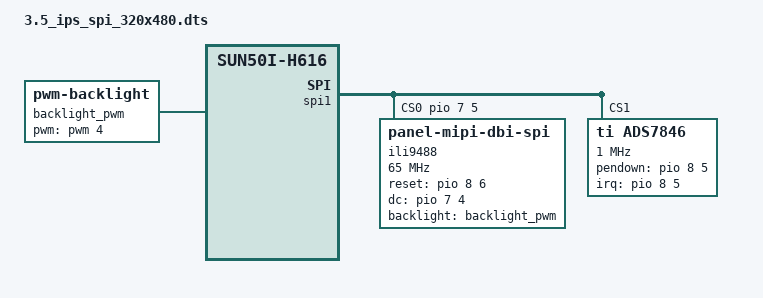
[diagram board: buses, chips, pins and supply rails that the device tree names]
/dts-v1/;
/plugin/;
/ {
    compatible = "allwinner,sun50i-h616";
    fragment@0 {
        target-path = "/";
        __overlay__ {
            /*backlight_gpio: backlight_gpio {
                compatible = "gpio-backlight";
		gpios = <&pio 8 14 0>; // PI14
                default-on;
	    };*/
            backlight_pwm: backlight_pwm {
                compatible = "pwm-backlight";
                brightness-levels = <0 25 50 75 100 125 150 175 200 225 255>;
		default-brightness-level = <6>;
		pwms = <&pwm 4 25000 0>; // PI14
                pwm-names = "backlight";
		status = "okay";
            };
        };
    };
    fragment@1 {
        target = <&spi1>;
        __overlay__ {
            status = "okay";
	    cs-gpios = <&pio 7 5 0>; /*PH5=CS0 PH9=CS1*/
            ili9488: ili9488@0 {
                compatible = "panel-mipi-dbi-spi";
                reg = <0>;
                pinctrl-names = "default";
                spi-max-frequency = <65000000>;

                reset-gpios = <&pio 8 6 0>; /* PI6 */
                dc-gpios = <&pio 7 4 0>; /* PH4 */
                backlight = <&backlight_pwm>;

                write-only;
                format = "b6x2g6x2r6x2";
		//format = "r5g6b5";
                width-mm = <73>;
                height-mm = <49>;
                panel-timing {
		    hactive = <480>;
                    vactive = <320>;
                    hback-porch = <0>;
                    vback-porch = <0>;
                    clock-frequency = <0>;
                    hfront-porch = <0>;
                    hsync-len = <0>;
                    vfront-porch = <0>;
                    vsync-len = <0>;
                };
            };
            ads7846: ads7846@0 {
                compatible = "ti,ads7846";
                reg = <1>;
                pinctrl-names = "default";
                spi-max-frequency = <1000000>;
                interrupts = <8 5 1>; /* PI5 - IRQ */
                interrupt-parent = <&pio>;
                pendown-gpio = <&pio 8 5 0>; /* PI5 */

                ti,swap-xy = <1>;
                ti,x-min = /bits/ 16 <280>;
                ti,y-min = /bits/ 16 <350>;
                ti,x-max = /bits/ 16 <3850>;
                ti,y-max = /bits/ 16 <3850>;
                ti,pressure-min = /bits/ 16 <0>;
		ti,pressure-max = /bits/ 16 <255>;
                ti,x-plate-ohms = /bits/ 16 <133>;
		ti,debounce-max = /bits/ 16 <50>;
		ti,debounce-tol = /bits/ 16 <30>;
                ti,debounce-rep = /bits/ 16 <1>;
		touchscreen-inverted-x = <1>;

                wakeup-source;
	    };
        };
    };
};
